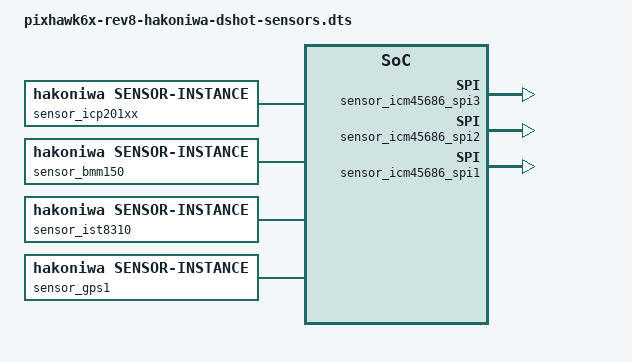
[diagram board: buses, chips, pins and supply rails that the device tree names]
/* SPDX-License-Identifier: MIT */

/*
 * Revision-8 DShot board with one sensor-host value source per modeled chip.
 * The names below are the names required in HAKO_SENSOR_DEVICE_SENSORS.
 */

#include "pixhawk6x-rev8-hakoniwa-dshot.dts"

&hakoniwa_sensor {
	sensor_icm45686_spi3: icm45686-spi3 {
		compatible = "hakoniwa,sensor-instance";
	};
	sensor_icm45686_spi2: icm45686-spi2 {
		compatible = "hakoniwa,sensor-instance";
	};
	sensor_icm45686_spi1: icm45686-spi1 {
		compatible = "hakoniwa,sensor-instance";
	};
	sensor_icp201xx: icp201xx {
		compatible = "hakoniwa,sensor-instance";
	};
	sensor_bmm150: bmm150 {
		compatible = "hakoniwa,sensor-instance";
	};
	sensor_ist8310: ist8310 {
		compatible = "hakoniwa,sensor-instance";
	};
	sensor_gps1: gps1 {
		compatible = "hakoniwa,sensor-instance";
	};
};

&icm45686_spi3 {
	value-source = <&sensor_icm45686_spi3>;
	/delete-property/ athrill,tick-before-value-source;
};
&icm45686_spi2 {
	value-source = <&sensor_icm45686_spi2>;
	/delete-property/ athrill,tick-before-value-source;
};
&icm45686_spi1 {
	value-source = <&sensor_icm45686_spi1>;
	/delete-property/ athrill,tick-before-value-source;
};
&icp201xx {
	value-source = <&sensor_icp201xx>;
	/delete-property/ athrill,tick-before-value-source;
};
&bmm150 {
	value-source = <&sensor_bmm150>;
	/delete-property/ athrill,tick-before-value-source;
};
&external_magnetometer {
	value-source = <&sensor_ist8310>;
	/delete-property/ athrill,tick-before-value-source;
};
&gps1 {
	value-source = <&sensor_gps1>;
	/delete-property/ athrill,tick-before-value-source;
};
